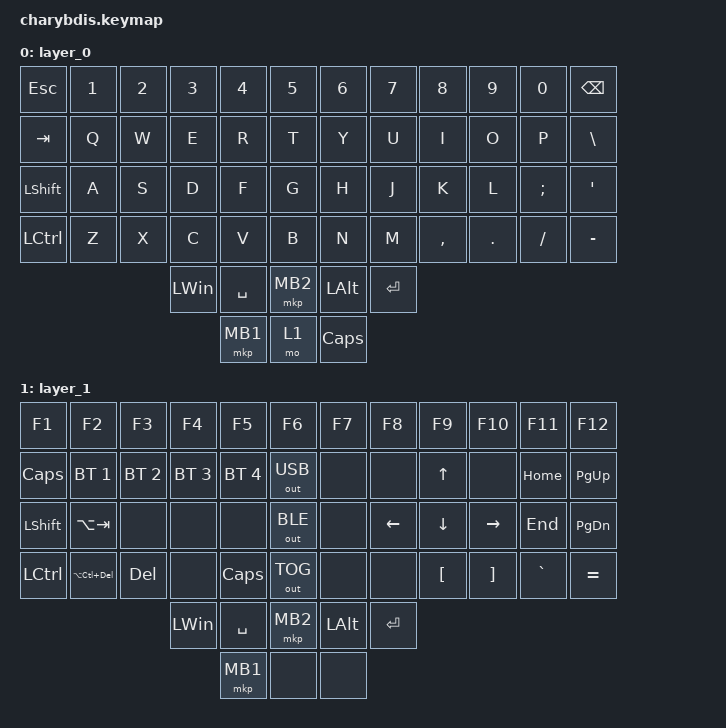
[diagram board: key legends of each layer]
#include <behaviors.dtsi>
#include <dt-bindings/zmk/bt.h>
#include <dt-bindings/zmk/keys.h>
#include <dt-bindings/zmk/mouse.h>
#include <dt-bindings/zmk/outputs.h>

&lt {
    tapping-term-ms = <200>;
    flavor = "balanced";
    quick-tap-ms = <150>;
};

/ {
    keymap {
        compatible = "zmk,keymap";

        layer_0 {
            bindings = <
&kp ESC         &kp N1  &kp N2  &kp N3        &kp N4     &kp N5      &kp N6    &kp N7     &kp N8     &kp N9      &kp N0    &kp BACKSPACE
&kp TAB         &kp Q   &kp W   &kp E         &kp R      &kp T       &kp Y     &kp U      &kp I      &kp O       &kp P     &kp BSLH
&kp LEFT_SHIFT  &kp A   &kp S   &kp D         &kp F      &kp G       &kp H     &kp J      &kp K      &kp L       &kp SEMI  &kp SQT
&kp LCTRL       &kp Z   &kp X   &kp C         &kp V      &kp B       &kp N     &kp M      &kp COMMA  &kp PERIOD  &kp FSLH  &kp MINUS
                                &kp LEFT_WIN  &kp SPACE  &mkp MB2    &kp LALT  &kp ENTER
                                              &mkp MB1   &mo 1       &kp CAPS
            >;

            trackball-bindings = <&tmv_coarse>;
        };

        layer_1 {
            bindings = <
&kp F1          &kp F2           &kp F3        &kp F4        &kp F5        &kp F6          &kp F7    &kp F8     &kp F9            &kp F10            &kp F11    &kp F12
&kp CAPS        &bt BT_SEL 1     &bt BT_SEL 2  &bt BT_SEL 3  &bt BT_SEL 4  &out OUT_USB    &none     &none      &kp UP            &none              &kp HOME   &kp PAGE_UP
&kp LEFT_SHIFT  &kp LA(TAB)      &none         &none         &none         &out OUT_BLE    &none     &kp LEFT   &kp DOWN          &kp RIGHT          &kp END    &kp PAGE_DOWN
&kp LCTRL       &kp LA(LC(DEL))  &kp DEL       &none         &kp CAPS      &out OUT_TOG    &none     &none      &kp LEFT_BRACKET  &kp RIGHT_BRACKET  &kp GRAVE  &kp EQUAL
                                               &kp LEFT_WIN  &kp SPACE     &mkp MB2        &kp LALT  &kp ENTER
                                                             &mkp MB1      &none           &none
            >;

            trackball-bindings = <&tsl>;
        };

        /* layer_2 {
            bindings = <
&none  &none   &none    &none   &none         &none         &kp N1         &none         &none     &none  &none   &to 0
&none  &none   &none    &none   &none         &none         &none         &none          &rgb_ug RGB_BRD &rgb_ug RGB_BRI  &rgb_ug RGB_EFF   &rgb_ug RGB_TOG
&none  &none   &none    &none   &none         &none         &none         &mkp LCLK     &mkp RCLK  &none  &none   &none
&none  &none   &none    &none   &bt BT_NXT  &bt BT_CLR    &none         &none         &none     &none  &none   &none
                                   &none         &none         &none         &none         &none
                                                 &none         &none         &none
            >;
          trackball-bindings = <&tsl>;
            
        };

       Mouse {
            bindings = <
&none        &none         &none         &none         &none      &none         &none       &none      &none         &none         &none         &none
&none        &bt BT_SEL 0  &bt BT_SEL 1  &bt BT_SEL 3  &none      &bt BT_CLR    &bt BT_CLR  &none      &bt BT_SEL 2  &bt BT_SEL 1  &bt BT_SEL 0  &none
&none        &trans        &trans        &mkp MCLK     &trans     &none         &none       &trans     &mkp MCLK     &trans        &trans        &none
&bootloader  &trans        &mkp RCLK     &mo 4         &mkp LCLK  &mo 5         &mo 5       &mkp LCLK  &mo 4         &mkp RCLK     &trans        &bootloader
                                         &mo 5         &mkp LCLK  &mkp RCLK     &mkp RCLK   &mkp LCLK
                                                       &none      &trans        &trans
            >;

            
        };

        layer_4 {
            bindings = <
&trans  &trans  &trans     &trans     &trans     &trans       &trans     &trans     &trans     &trans     &trans  &trans
&trans  &trans  &trans     &trans     &trans     &trans       &trans     &trans     &trans     &trans     &trans  &trans
&trans  &trans  &trans     &mkp MCLK  &trans     &trans       &trans     &trans     &mkp MCLK  &trans     &trans  &trans
&trans  &trans  &mkp RCLK  &trans     &mkp LCLK  &trans       &trans     &mkp LCLK  &trans     &mkp RCLK  &trans  &trans
                           &trans     &mkp LCLK  &mkp RCLK    &mkp RCLK  &mkp LCLK
                                      &trans     &trans       &trans
            >;
                
                
                trackball-bindings = <&tsl>;
        };

        layer_5 {
            bindings = <
&trans  &trans  &trans     &trans     &trans     &trans       &trans     &trans     &trans     &trans     &trans  &trans
&trans  &trans  &trans     &trans     &trans     &trans       &trans     &trans     &trans     &trans     &trans  &trans
&trans  &trans  &trans     &mkp MCLK  &trans     &trans       &trans     &trans     &mkp MCLK  &trans     &trans  &trans
&trans  &trans  &mkp RCLK  &trans     &mkp LCLK  &trans       &trans     &mkp LCLK  &trans     &mkp RCLK  &trans  &trans
                           &trans     &mkp LCLK  &mkp RCLK    &mkp RCLK  &mkp LCLK
                                      &trans     &trans       &trans
            >;
                trackball-bindings = <&tmv_fine>;
                
        };*/
    };
};
